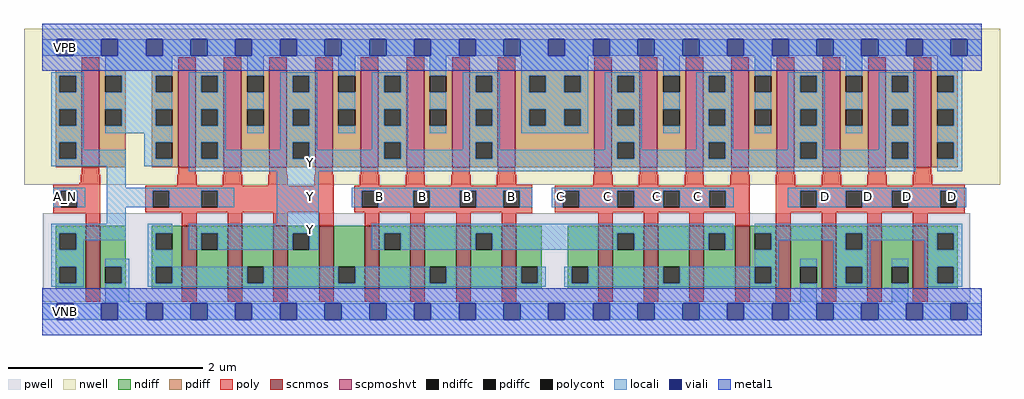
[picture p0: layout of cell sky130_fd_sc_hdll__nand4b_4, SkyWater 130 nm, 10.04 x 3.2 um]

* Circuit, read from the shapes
.subckt sky130_fd_sc_hdll__nand4b_4 A_N B C D VGND VNB VPB VPWR Y
XM1 VGND A_N n1 VNB sky130_fd_pr__nfet_01v8 w=0.65 l=0.15
XM2 Y n1 n2 VNB sky130_fd_pr__nfet_01v8 w=0.65 l=0.15 m=4
XM3 n3 B n2 VNB sky130_fd_pr__nfet_01v8 w=0.65 l=0.15 m=4
XM4 n3 C n4 VNB sky130_fd_pr__nfet_01v8 w=0.65 l=0.15 m=4
XM5 VGND D n4 VNB sky130_fd_pr__nfet_01v8 w=0.65 l=0.15 m=4
XM6 VPWR A_N n1 VPB sky130_fd_pr__pfet_01v8_hvt w=1 l=0.18
XM7 Y n1 VPWR VPB sky130_fd_pr__pfet_01v8_hvt w=1 l=0.18 m=4
XM8 Y B VPWR VPB sky130_fd_pr__pfet_01v8_hvt w=1 l=0.18 m=4
XM9 Y C VPWR VPB sky130_fd_pr__pfet_01v8_hvt w=1 l=0.18 m=4
XM10 Y D VPWR VPB sky130_fd_pr__pfet_01v8_hvt w=1 l=0.18 m=4
.ends

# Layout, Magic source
magic
tech sky130A
magscale 1 2
<< nwell >>
rect -38 261 1970 582
<< pwell >>
rect 1 21 1909 203
rect 30 -17 64 21
<< scnmos >>
rect 89 47 119 177
rect 287 47 317 177
rect 381 47 411 177
rect 475 47 505 177
rect 569 47 599 177
rect 663 47 693 177
rect 757 47 787 177
rect 851 47 881 177
rect 945 47 975 177
rect 1143 47 1173 177
rect 1237 47 1267 177
rect 1331 47 1361 177
rect 1425 47 1455 177
rect 1509 47 1539 177
rect 1603 47 1633 177
rect 1697 47 1727 177
rect 1791 47 1821 177
<< scpmoshvt >>
rect 81 297 117 497
rect 279 297 315 497
rect 373 297 409 497
rect 467 297 503 497
rect 561 297 597 497
rect 655 297 691 497
rect 749 297 785 497
rect 843 297 879 497
rect 937 297 973 497
rect 1135 297 1171 497
rect 1229 297 1265 497
rect 1323 297 1359 497
rect 1417 297 1453 497
rect 1511 297 1547 497
rect 1605 297 1641 497
rect 1699 297 1735 497
rect 1793 297 1829 497
<< ndiff >>
rect 27 161 89 177
rect 27 127 35 161
rect 69 127 89 161
rect 27 93 89 127
rect 27 59 35 93
rect 69 59 89 93
rect 27 47 89 59
rect 119 93 171 177
rect 119 59 129 93
rect 163 59 171 93
rect 119 47 171 59
rect 225 161 287 177
rect 225 127 233 161
rect 267 127 287 161
rect 225 93 287 127
rect 225 59 233 93
rect 267 59 287 93
rect 225 47 287 59
rect 317 161 381 177
rect 317 127 327 161
rect 361 127 381 161
rect 317 47 381 127
rect 411 93 475 177
rect 411 59 421 93
rect 455 59 475 93
rect 411 47 475 59
rect 505 161 569 177
rect 505 127 515 161
rect 549 127 569 161
rect 505 47 569 127
rect 599 93 663 177
rect 599 59 609 93
rect 643 59 663 93
rect 599 47 663 59
rect 693 161 757 177
rect 693 127 703 161
rect 737 127 757 161
rect 693 47 757 127
rect 787 93 851 177
rect 787 59 797 93
rect 831 59 851 93
rect 787 47 851 59
rect 881 161 945 177
rect 881 127 891 161
rect 925 127 945 161
rect 881 47 945 127
rect 975 93 1027 177
rect 975 59 985 93
rect 1019 59 1027 93
rect 975 47 1027 59
rect 1081 93 1143 177
rect 1081 59 1089 93
rect 1123 59 1143 93
rect 1081 47 1143 59
rect 1173 161 1237 177
rect 1173 127 1183 161
rect 1217 127 1237 161
rect 1173 47 1237 127
rect 1267 93 1331 177
rect 1267 59 1277 93
rect 1311 59 1331 93
rect 1267 47 1331 59
rect 1361 161 1425 177
rect 1361 127 1371 161
rect 1405 127 1425 161
rect 1361 47 1425 127
rect 1455 161 1509 177
rect 1455 127 1465 161
rect 1499 127 1509 161
rect 1455 93 1509 127
rect 1455 59 1465 93
rect 1499 59 1509 93
rect 1455 47 1509 59
rect 1539 93 1603 177
rect 1539 59 1559 93
rect 1593 59 1603 93
rect 1539 47 1603 59
rect 1633 161 1697 177
rect 1633 127 1653 161
rect 1687 127 1697 161
rect 1633 93 1697 127
rect 1633 59 1653 93
rect 1687 59 1697 93
rect 1633 47 1697 59
rect 1727 93 1791 177
rect 1727 59 1747 93
rect 1781 59 1791 93
rect 1727 47 1791 59
rect 1821 161 1883 177
rect 1821 127 1841 161
rect 1875 127 1883 161
rect 1821 93 1883 127
rect 1821 59 1841 93
rect 1875 59 1883 93
rect 1821 47 1883 59
<< pdiff >>
rect 27 485 81 497
rect 27 451 35 485
rect 69 451 81 485
rect 27 417 81 451
rect 27 383 35 417
rect 69 383 81 417
rect 27 349 81 383
rect 27 315 35 349
rect 69 315 81 349
rect 27 297 81 315
rect 117 485 171 497
rect 117 451 129 485
rect 163 451 171 485
rect 117 417 171 451
rect 117 383 129 417
rect 163 383 171 417
rect 117 297 171 383
rect 225 485 279 497
rect 225 451 233 485
rect 267 451 279 485
rect 225 417 279 451
rect 225 383 233 417
rect 267 383 279 417
rect 225 349 279 383
rect 225 315 233 349
rect 267 315 279 349
rect 225 297 279 315
rect 315 485 373 497
rect 315 451 327 485
rect 361 451 373 485
rect 315 417 373 451
rect 315 383 327 417
rect 361 383 373 417
rect 315 349 373 383
rect 315 315 327 349
rect 361 315 373 349
rect 315 297 373 315
rect 409 485 467 497
rect 409 451 421 485
rect 455 451 467 485
rect 409 417 467 451
rect 409 383 421 417
rect 455 383 467 417
rect 409 297 467 383
rect 503 485 561 497
rect 503 451 515 485
rect 549 451 561 485
rect 503 417 561 451
rect 503 383 515 417
rect 549 383 561 417
rect 503 349 561 383
rect 503 315 515 349
rect 549 315 561 349
rect 503 297 561 315
rect 597 485 655 497
rect 597 451 609 485
rect 643 451 655 485
rect 597 417 655 451
rect 597 383 609 417
rect 643 383 655 417
rect 597 297 655 383
rect 691 485 749 497
rect 691 451 703 485
rect 737 451 749 485
rect 691 417 749 451
rect 691 383 703 417
rect 737 383 749 417
rect 691 349 749 383
rect 691 315 703 349
rect 737 315 749 349
rect 691 297 749 315
rect 785 485 843 497
rect 785 451 797 485
rect 831 451 843 485
rect 785 417 843 451
rect 785 383 797 417
rect 831 383 843 417
rect 785 297 843 383
rect 879 485 937 497
rect 879 451 891 485
rect 925 451 937 485
rect 879 417 937 451
rect 879 383 891 417
rect 925 383 937 417
rect 879 349 937 383
rect 879 315 891 349
rect 925 315 937 349
rect 879 297 937 315
rect 973 485 1135 497
rect 973 451 1001 485
rect 1035 451 1073 485
rect 1107 451 1135 485
rect 973 417 1135 451
rect 973 383 1001 417
rect 1035 383 1073 417
rect 1107 383 1135 417
rect 973 297 1135 383
rect 1171 485 1229 497
rect 1171 451 1183 485
rect 1217 451 1229 485
rect 1171 417 1229 451
rect 1171 383 1183 417
rect 1217 383 1229 417
rect 1171 349 1229 383
rect 1171 315 1183 349
rect 1217 315 1229 349
rect 1171 297 1229 315
rect 1265 485 1323 497
rect 1265 451 1277 485
rect 1311 451 1323 485
rect 1265 417 1323 451
rect 1265 383 1277 417
rect 1311 383 1323 417
rect 1265 297 1323 383
rect 1359 485 1417 497
rect 1359 451 1371 485
rect 1405 451 1417 485
rect 1359 417 1417 451
rect 1359 383 1371 417
rect 1405 383 1417 417
rect 1359 349 1417 383
rect 1359 315 1371 349
rect 1405 315 1417 349
rect 1359 297 1417 315
rect 1453 485 1511 497
rect 1453 451 1465 485
rect 1499 451 1511 485
rect 1453 417 1511 451
rect 1453 383 1465 417
rect 1499 383 1511 417
rect 1453 297 1511 383
rect 1547 485 1605 497
rect 1547 451 1559 485
rect 1593 451 1605 485
rect 1547 417 1605 451
rect 1547 383 1559 417
rect 1593 383 1605 417
rect 1547 349 1605 383
rect 1547 315 1559 349
rect 1593 315 1605 349
rect 1547 297 1605 315
rect 1641 485 1699 497
rect 1641 451 1653 485
rect 1687 451 1699 485
rect 1641 417 1699 451
rect 1641 383 1653 417
rect 1687 383 1699 417
rect 1641 297 1699 383
rect 1735 485 1793 497
rect 1735 451 1747 485
rect 1781 451 1793 485
rect 1735 417 1793 451
rect 1735 383 1747 417
rect 1781 383 1793 417
rect 1735 349 1793 383
rect 1735 315 1747 349
rect 1781 315 1793 349
rect 1735 297 1793 315
rect 1829 485 1883 497
rect 1829 451 1841 485
rect 1875 451 1883 485
rect 1829 417 1883 451
rect 1829 383 1841 417
rect 1875 383 1883 417
rect 1829 349 1883 383
rect 1829 315 1841 349
rect 1875 315 1883 349
rect 1829 297 1883 315
<< ndiffc >>
rect 35 127 69 161
rect 35 59 69 93
rect 129 59 163 93
rect 233 127 267 161
rect 233 59 267 93
rect 327 127 361 161
rect 421 59 455 93
rect 515 127 549 161
rect 609 59 643 93
rect 703 127 737 161
rect 797 59 831 93
rect 891 127 925 161
rect 985 59 1019 93
rect 1089 59 1123 93
rect 1183 127 1217 161
rect 1277 59 1311 93
rect 1371 127 1405 161
rect 1465 127 1499 161
rect 1465 59 1499 93
rect 1559 59 1593 93
rect 1653 127 1687 161
rect 1653 59 1687 93
rect 1747 59 1781 93
rect 1841 127 1875 161
rect 1841 59 1875 93
<< pdiffc >>
rect 35 451 69 485
rect 35 383 69 417
rect 35 315 69 349
rect 129 451 163 485
rect 129 383 163 417
rect 233 451 267 485
rect 233 383 267 417
rect 233 315 267 349
rect 327 451 361 485
rect 327 383 361 417
rect 327 315 361 349
rect 421 451 455 485
rect 421 383 455 417
rect 515 451 549 485
rect 515 383 549 417
rect 515 315 549 349
rect 609 451 643 485
rect 609 383 643 417
rect 703 451 737 485
rect 703 383 737 417
rect 703 315 737 349
rect 797 451 831 485
rect 797 383 831 417
rect 891 451 925 485
rect 891 383 925 417
rect 891 315 925 349
rect 1001 451 1035 485
rect 1073 451 1107 485
rect 1001 383 1035 417
rect 1073 383 1107 417
rect 1183 451 1217 485
rect 1183 383 1217 417
rect 1183 315 1217 349
rect 1277 451 1311 485
rect 1277 383 1311 417
rect 1371 451 1405 485
rect 1371 383 1405 417
rect 1371 315 1405 349
rect 1465 451 1499 485
rect 1465 383 1499 417
rect 1559 451 1593 485
rect 1559 383 1593 417
rect 1559 315 1593 349
rect 1653 451 1687 485
rect 1653 383 1687 417
rect 1747 451 1781 485
rect 1747 383 1781 417
rect 1747 315 1781 349
rect 1841 451 1875 485
rect 1841 383 1875 417
rect 1841 315 1875 349
<< poly >>
rect 81 497 117 523
rect 279 497 315 523
rect 373 497 409 523
rect 467 497 503 523
rect 561 497 597 523
rect 655 497 691 523
rect 749 497 785 523
rect 843 497 879 523
rect 937 497 973 523
rect 1135 497 1171 523
rect 1229 497 1265 523
rect 1323 497 1359 523
rect 1417 497 1453 523
rect 1511 497 1547 523
rect 1605 497 1641 523
rect 1699 497 1735 523
rect 1793 497 1829 523
rect 81 282 117 297
rect 279 282 315 297
rect 373 282 409 297
rect 467 282 503 297
rect 561 282 597 297
rect 655 282 691 297
rect 749 282 785 297
rect 843 282 879 297
rect 937 282 973 297
rect 1135 282 1171 297
rect 1229 282 1265 297
rect 1323 282 1359 297
rect 1417 282 1453 297
rect 1511 282 1547 297
rect 1605 282 1641 297
rect 1699 282 1735 297
rect 1793 282 1829 297
rect 79 265 119 282
rect 76 261 119 265
rect 22 249 119 261
rect 277 259 317 282
rect 371 259 411 282
rect 465 259 505 282
rect 559 259 599 282
rect 653 259 693 282
rect 747 259 787 282
rect 841 259 881 282
rect 935 261 975 282
rect 935 259 1008 261
rect 1133 259 1173 282
rect 1227 259 1267 282
rect 1321 259 1361 282
rect 1415 259 1455 282
rect 22 215 38 249
rect 72 215 119 249
rect 22 203 119 215
rect 211 249 599 259
rect 211 215 227 249
rect 261 215 327 249
rect 361 215 599 249
rect 211 205 599 215
rect 641 249 1008 259
rect 641 215 657 249
rect 691 215 763 249
rect 797 215 858 249
rect 892 215 948 249
rect 982 215 1008 249
rect 641 205 1008 215
rect 1054 249 1455 259
rect 1054 215 1070 249
rect 1104 215 1183 249
rect 1217 215 1277 249
rect 1311 215 1372 249
rect 1406 215 1455 249
rect 1054 205 1455 215
rect 89 177 119 203
rect 287 177 317 205
rect 381 177 411 205
rect 475 177 505 205
rect 569 177 599 205
rect 663 177 693 205
rect 757 177 787 205
rect 851 177 881 205
rect 945 203 1008 205
rect 945 177 975 203
rect 1143 177 1173 205
rect 1237 177 1267 205
rect 1331 177 1361 205
rect 1425 177 1455 205
rect 1509 259 1549 282
rect 1603 259 1643 282
rect 1697 259 1737 282
rect 1791 261 1831 282
rect 1791 259 1897 261
rect 1509 249 1897 259
rect 1509 215 1559 249
rect 1593 215 1653 249
rect 1687 215 1747 249
rect 1781 215 1847 249
rect 1881 215 1897 249
rect 1509 205 1897 215
rect 1509 177 1539 205
rect 1603 177 1633 205
rect 1697 177 1727 205
rect 1791 203 1897 205
rect 1791 177 1821 203
rect 89 21 119 47
rect 287 21 317 47
rect 381 21 411 47
rect 475 21 505 47
rect 569 21 599 47
rect 663 21 693 47
rect 757 21 787 47
rect 851 21 881 47
rect 945 21 975 47
rect 1143 21 1173 47
rect 1237 21 1267 47
rect 1331 21 1361 47
rect 1425 21 1455 47
rect 1509 21 1539 47
rect 1603 21 1633 47
rect 1697 21 1727 47
rect 1791 21 1821 47
<< polycont >>
rect 38 215 72 249
rect 227 215 261 249
rect 327 215 361 249
rect 657 215 691 249
rect 763 215 797 249
rect 858 215 892 249
rect 948 215 982 249
rect 1070 215 1104 249
rect 1183 215 1217 249
rect 1277 215 1311 249
rect 1372 215 1406 249
rect 1559 215 1593 249
rect 1653 215 1687 249
rect 1747 215 1781 249
rect 1847 215 1881 249
<< locali >>
rect 0 527 29 561
rect 63 527 121 561
rect 155 527 213 561
rect 247 527 305 561
rect 339 527 397 561
rect 431 527 489 561
rect 523 527 581 561
rect 615 527 673 561
rect 707 527 765 561
rect 799 527 857 561
rect 891 527 949 561
rect 983 527 1041 561
rect 1075 527 1133 561
rect 1167 527 1225 561
rect 1259 527 1317 561
rect 1351 527 1409 561
rect 1443 527 1501 561
rect 1535 527 1593 561
rect 1627 527 1685 561
rect 1719 527 1777 561
rect 1811 527 1869 561
rect 1903 527 1932 561
rect 18 485 85 493
rect 18 451 35 485
rect 69 451 85 485
rect 18 417 85 451
rect 18 383 35 417
rect 69 383 85 417
rect 18 349 85 383
rect 129 485 267 527
rect 163 451 233 485
rect 129 417 267 451
rect 163 383 233 417
rect 129 367 267 383
rect 18 315 35 349
rect 69 333 85 349
rect 209 349 267 367
rect 69 315 171 333
rect 18 299 171 315
rect 209 315 233 349
rect 209 299 267 315
rect 301 485 377 493
rect 301 451 327 485
rect 361 451 377 485
rect 301 417 377 451
rect 301 383 327 417
rect 361 383 377 417
rect 301 349 377 383
rect 421 485 455 527
rect 421 417 455 451
rect 421 367 455 383
rect 489 485 565 493
rect 489 451 515 485
rect 549 451 565 485
rect 489 417 565 451
rect 489 383 515 417
rect 549 383 565 417
rect 301 315 327 349
rect 361 333 377 349
rect 489 349 565 383
rect 609 485 643 527
rect 609 417 643 451
rect 609 367 643 383
rect 677 485 753 493
rect 677 451 703 485
rect 737 451 753 485
rect 677 417 753 451
rect 677 383 703 417
rect 737 383 753 417
rect 489 333 515 349
rect 361 315 515 333
rect 549 333 565 349
rect 677 349 753 383
rect 797 485 831 527
rect 797 417 831 451
rect 797 367 831 383
rect 865 485 941 493
rect 865 451 891 485
rect 925 451 941 485
rect 865 417 941 451
rect 865 383 891 417
rect 925 383 941 417
rect 677 333 703 349
rect 549 315 703 333
rect 737 333 753 349
rect 865 349 941 383
rect 985 485 1123 527
rect 985 451 1001 485
rect 1035 451 1073 485
rect 1107 451 1123 485
rect 985 417 1123 451
rect 985 383 1001 417
rect 1035 383 1073 417
rect 1107 383 1123 417
rect 985 367 1123 383
rect 1157 485 1233 493
rect 1157 451 1183 485
rect 1217 451 1233 485
rect 1157 417 1233 451
rect 1157 383 1183 417
rect 1217 383 1233 417
rect 865 333 891 349
rect 737 315 891 333
rect 925 333 941 349
rect 1157 349 1233 383
rect 1277 485 1311 527
rect 1277 417 1311 451
rect 1277 367 1311 383
rect 1345 485 1421 493
rect 1345 451 1371 485
rect 1405 451 1421 485
rect 1345 417 1421 451
rect 1345 383 1371 417
rect 1405 383 1421 417
rect 1157 333 1183 349
rect 925 315 1183 333
rect 1217 333 1233 349
rect 1345 349 1421 383
rect 1465 485 1499 527
rect 1465 417 1499 451
rect 1465 367 1499 383
rect 1533 485 1609 493
rect 1533 451 1559 485
rect 1593 451 1609 485
rect 1533 417 1609 451
rect 1533 383 1559 417
rect 1593 383 1609 417
rect 1345 333 1371 349
rect 1217 315 1371 333
rect 1405 333 1421 349
rect 1533 349 1609 383
rect 1653 485 1687 527
rect 1653 417 1687 451
rect 1653 367 1687 383
rect 1721 485 1797 493
rect 1721 451 1747 485
rect 1781 451 1797 485
rect 1721 417 1797 451
rect 1721 383 1747 417
rect 1781 383 1797 417
rect 1533 333 1559 349
rect 1405 315 1559 333
rect 1593 333 1609 349
rect 1721 349 1797 383
rect 1721 333 1747 349
rect 1593 315 1747 333
rect 1781 315 1797 349
rect 132 255 171 299
rect 301 289 1797 315
rect 1841 485 1892 527
rect 1875 451 1892 485
rect 1841 417 1892 451
rect 1875 383 1892 417
rect 1841 349 1892 383
rect 1875 315 1892 349
rect 1841 289 1892 315
rect 22 249 88 255
rect 22 215 38 249
rect 72 215 88 249
rect 132 249 395 255
rect 132 215 227 249
rect 261 215 327 249
rect 361 215 395 249
rect 132 181 171 215
rect 482 181 568 289
rect 636 249 1008 255
rect 636 215 657 249
rect 691 215 763 249
rect 797 215 858 249
rect 892 215 948 249
rect 982 215 1008 249
rect 1048 249 1422 255
rect 1048 215 1070 249
rect 1104 215 1183 249
rect 1217 215 1277 249
rect 1311 215 1372 249
rect 1406 215 1422 249
rect 1533 249 1901 255
rect 1533 215 1559 249
rect 1593 215 1653 249
rect 1687 215 1747 249
rect 1781 215 1847 249
rect 1881 215 1901 249
rect 18 161 171 181
rect 18 127 35 161
rect 69 147 171 161
rect 217 161 267 181
rect 69 127 85 147
rect 18 93 85 127
rect 217 127 233 161
rect 301 161 568 181
rect 301 127 327 161
rect 361 127 515 161
rect 549 127 568 161
rect 677 161 1421 181
rect 677 127 703 161
rect 737 127 891 161
rect 925 127 1183 161
rect 1217 127 1371 161
rect 1405 127 1421 161
rect 1465 161 1892 181
rect 1499 147 1653 161
rect 1499 127 1515 147
rect 18 59 35 93
rect 69 59 85 93
rect 18 51 85 59
rect 129 93 179 109
rect 163 59 179 93
rect 129 17 179 59
rect 217 93 267 127
rect 1465 93 1515 127
rect 1627 127 1653 147
rect 1687 147 1841 161
rect 1687 127 1703 147
rect 217 59 233 93
rect 267 59 421 93
rect 455 59 609 93
rect 643 59 797 93
rect 831 59 985 93
rect 1019 59 1035 93
rect 217 51 1035 59
rect 1073 59 1089 93
rect 1123 59 1277 93
rect 1311 59 1465 93
rect 1499 59 1515 93
rect 1073 51 1515 59
rect 1559 93 1593 109
rect 1559 17 1593 59
rect 1627 93 1703 127
rect 1815 127 1841 147
rect 1875 127 1892 161
rect 1627 59 1653 93
rect 1687 59 1703 93
rect 1627 51 1703 59
rect 1747 93 1781 109
rect 1747 17 1781 59
rect 1815 93 1892 127
rect 1815 59 1841 93
rect 1875 59 1892 93
rect 1815 51 1892 59
rect 0 -17 29 17
rect 63 -17 121 17
rect 155 -17 213 17
rect 247 -17 305 17
rect 339 -17 397 17
rect 431 -17 489 17
rect 523 -17 581 17
rect 615 -17 673 17
rect 707 -17 765 17
rect 799 -17 857 17
rect 891 -17 949 17
rect 983 -17 1041 17
rect 1075 -17 1133 17
rect 1167 -17 1225 17
rect 1259 -17 1317 17
rect 1351 -17 1409 17
rect 1443 -17 1501 17
rect 1535 -17 1593 17
rect 1627 -17 1685 17
rect 1719 -17 1777 17
rect 1811 -17 1869 17
rect 1903 -17 1932 17
<< viali >>
rect 29 527 63 561
rect 121 527 155 561
rect 213 527 247 561
rect 305 527 339 561
rect 397 527 431 561
rect 489 527 523 561
rect 581 527 615 561
rect 673 527 707 561
rect 765 527 799 561
rect 857 527 891 561
rect 949 527 983 561
rect 1041 527 1075 561
rect 1133 527 1167 561
rect 1225 527 1259 561
rect 1317 527 1351 561
rect 1409 527 1443 561
rect 1501 527 1535 561
rect 1593 527 1627 561
rect 1685 527 1719 561
rect 1777 527 1811 561
rect 1869 527 1903 561
rect 29 -17 63 17
rect 121 -17 155 17
rect 213 -17 247 17
rect 305 -17 339 17
rect 397 -17 431 17
rect 489 -17 523 17
rect 581 -17 615 17
rect 673 -17 707 17
rect 765 -17 799 17
rect 857 -17 891 17
rect 949 -17 983 17
rect 1041 -17 1075 17
rect 1133 -17 1167 17
rect 1225 -17 1259 17
rect 1317 -17 1351 17
rect 1409 -17 1443 17
rect 1501 -17 1535 17
rect 1593 -17 1627 17
rect 1685 -17 1719 17
rect 1777 -17 1811 17
rect 1869 -17 1903 17
<< metal1 >>
rect 0 561 1932 592
rect 0 527 29 561
rect 63 527 121 561
rect 155 527 213 561
rect 247 527 305 561
rect 339 527 397 561
rect 431 527 489 561
rect 523 527 581 561
rect 615 527 673 561
rect 707 527 765 561
rect 799 527 857 561
rect 891 527 949 561
rect 983 527 1041 561
rect 1075 527 1133 561
rect 1167 527 1225 561
rect 1259 527 1317 561
rect 1351 527 1409 561
rect 1443 527 1501 561
rect 1535 527 1593 561
rect 1627 527 1685 561
rect 1719 527 1777 561
rect 1811 527 1869 561
rect 1903 527 1932 561
rect 0 496 1932 527
rect 0 17 1932 48
rect 0 -17 29 17
rect 63 -17 121 17
rect 155 -17 213 17
rect 247 -17 305 17
rect 339 -17 397 17
rect 431 -17 489 17
rect 523 -17 581 17
rect 615 -17 673 17
rect 707 -17 765 17
rect 799 -17 857 17
rect 891 -17 949 17
rect 983 -17 1041 17
rect 1075 -17 1133 17
rect 1167 -17 1225 17
rect 1259 -17 1317 17
rect 1351 -17 1409 17
rect 1443 -17 1501 17
rect 1535 -17 1593 17
rect 1627 -17 1685 17
rect 1719 -17 1777 17
rect 1811 -17 1869 17
rect 1903 -17 1932 17
rect 0 -48 1932 -17
<< labels >>
flabel locali s 1325 221 1369 255 0 FreeSans 250 0 0 0 C
port 3 nsew signal input
flabel locali s 1683 221 1717 255 0 FreeSans 250 0 0 0 D
port 4 nsew signal input
flabel locali s 1594 221 1628 255 0 FreeSans 250 0 0 0 D
port 4 nsew signal input
flabel locali s 1762 221 1796 255 0 FreeSans 250 0 0 0 D
port 4 nsew signal input
flabel locali s 1140 221 1184 255 0 FreeSans 250 0 0 0 C
port 3 nsew signal input
flabel locali s 1048 221 1082 255 0 FreeSans 250 0 0 0 C
port 3 nsew signal input
flabel locali s 948 221 982 255 0 FreeSans 250 0 0 0 B
port 2 nsew signal input
flabel locali s 858 221 892 255 0 FreeSans 250 0 0 0 B
port 2 nsew signal input
flabel locali s 764 221 798 255 0 FreeSans 250 0 0 0 B
port 2 nsew signal input
flabel locali s 677 221 711 255 0 FreeSans 250 0 0 0 B
port 2 nsew signal input
flabel locali s 534 153 568 187 0 FreeSans 250 0 0 0 Y
port 9 nsew signal output
flabel locali s 534 221 568 255 0 FreeSans 250 0 0 0 Y
port 9 nsew signal output
flabel locali s 534 289 568 323 0 FreeSans 250 0 0 0 Y
port 9 nsew signal output
flabel locali s 30 221 64 255 0 FreeSans 250 0 0 0 A_N
port 1 nsew signal input
flabel locali s 1242 221 1286 255 0 FreeSans 250 0 0 0 C
port 3 nsew signal input
flabel locali s 1855 221 1889 255 0 FreeSans 250 0 0 0 D
port 4 nsew signal input
flabel pwell s 30 -17 64 17 0 FreeSans 200 0 0 0 VNB
port 6 nsew ground bidirectional
flabel nwell s 30 527 64 561 0 FreeSans 200 0 0 0 VPB
port 7 nsew power bidirectional
flabel metal1 s 30 -17 64 17 0 FreeSans 200 0 0 0 VGND
port 5 nsew ground bidirectional
flabel metal1 s 30 527 64 561 0 FreeSans 200 0 0 0 VPWR
port 8 nsew power bidirectional
<< properties >>
string LEFsite unithd
string LEFclass CORE
string FIXED_BBOX 0 0 1932 544
string GDS_FILE $PDKPATH/libs.ref/sky130_fd_sc_hdll/gds/sky130_fd_sc_hdll.gds
string LEFsymmetry X Y R90
string GDS_END 1193732
string GDS_START 1178382
string LEFproperties maskLayoutSubType "abstract" prCellType "standard" originalViewName "layout"
<< end >>
